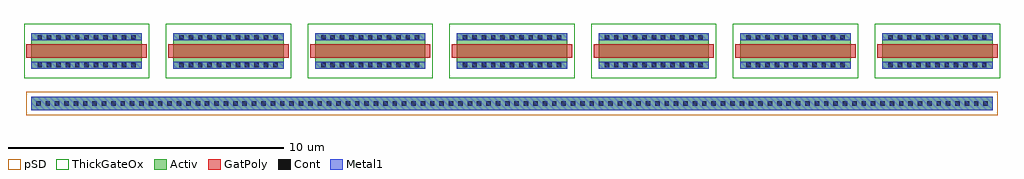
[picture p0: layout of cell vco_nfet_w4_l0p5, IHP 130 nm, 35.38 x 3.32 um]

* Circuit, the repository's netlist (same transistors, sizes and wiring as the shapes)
* extracted by klt extract --deck sg13cmos5l

* cell vco_nfet_w4_l0p5
* pin vsubs
.SUBCKT vco_nfet_w4_l0p5 vsubs
* device instance $1 r0 *1 3.3,3.11 nfet
X$1 \$16 \$2 \$3 vsubs sg13_hv_nmos L=0.5U W=4U AS=1.6P AD=1.6P PS=8.8U PD=8.8U
* device instance $2 r0 *1 9.26,3.11 nfet
X$2 \$17 \$4 \$5 vsubs sg13_hv_nmos L=0.5U W=4U AS=1.6P AD=1.6P PS=8.8U PD=8.8U
* device instance $3 r0 *1 15.22,3.11 nfet
X$3 \$18 \$6 \$7 vsubs sg13_hv_nmos L=0.5U W=4U AS=1.6P AD=1.6P PS=8.8U PD=8.8U
* device instance $4 r0 *1 21.18,3.11 nfet
X$4 \$19 \$8 \$9 vsubs sg13_hv_nmos L=0.5U W=4U AS=1.6P AD=1.6P PS=8.8U PD=8.8U
* device instance $5 r0 *1 27.14,3.11 nfet
X$5 \$20 \$10 \$11 vsubs sg13_hv_nmos L=0.5U W=4U AS=1.6P AD=1.6P PS=8.8U
+ PD=8.8U
* device instance $6 r0 *1 33.1,3.11 nfet
X$6 \$21 \$12 \$13 vsubs sg13_hv_nmos L=0.5U W=4U AS=1.6P AD=1.6P PS=8.8U
+ PD=8.8U
* device instance $7 r0 *1 39.06,3.11 nfet
X$7 \$22 \$14 \$15 vsubs sg13_hv_nmos L=0.5U W=4U AS=1.6P AD=1.6P PS=8.8U
+ PD=8.8U
.ENDS vco_nfet_w4_l0p5

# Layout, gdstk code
import gdstk
lib = gdstk.Library(unit=1e-6, precision=1e-09)
def R(c, l, rs):  # rectangles x0, y0, x1, y1
    for r in rs: c.add(gdstk.rectangle(r[:2], r[2:], *l))
def A(c, l, x, y, w, h, nx, ny, dx, dy):  # array of equal rectangles
    R(c, l, [(x+i*dx, y+j*dy, x+i*dx+w, y+j*dy+h) for i in range(nx) for j in range(ny)])
Activ = (1, 0)
GatPoly = (5, 0)
Cont = (6, 0)
Metal1 = (8, 0)
pSD = (14, 0)
ThickGateOx = (44, 0)

vco_nfet_w4_l0p5 = lib.new_cell('vco_nfet_w4_l0p5')
A(vco_nfet_w4_l0p5, Activ, 0.89, 2.46, 4, 1.3, 7, 1, 5.14, 0)
R(vco_nfet_w4_l0p5, Activ, [(0.89,0.96,35.73,1.46)])
A(vco_nfet_w4_l0p5, GatPoly, 0.71, 2.86, 4.36, 0.5, 7, 1, 5.14, 0)
A(vco_nfet_w4_l0p5, Cont, 1.06, 1.13, 0.16, 0.16, 102, 1, 0.34, 0)
A(vco_nfet_w4_l0p5, Cont, 1.11, 2.53, 0.16, 0.16, 11, 2, 0.34, 1)
A(vco_nfet_w4_l0p5, Cont, 6.25, 2.53, 0.16, 0.16, 11, 2, 0.34, 1)
A(vco_nfet_w4_l0p5, Cont, 11.39, 2.53, 0.16, 0.16, 11, 2, 0.34, 1)
A(vco_nfet_w4_l0p5, Cont, 16.53, 2.53, 0.16, 0.16, 11, 2, 0.34, 1)
A(vco_nfet_w4_l0p5, Cont, 21.67, 2.53, 0.16, 0.16, 11, 2, 0.34, 1)
A(vco_nfet_w4_l0p5, Cont, 26.81, 2.53, 0.16, 0.16, 11, 2, 0.34, 1)
A(vco_nfet_w4_l0p5, Cont, 31.95, 2.53, 0.16, 0.16, 11, 2, 0.34, 1)
A(vco_nfet_w4_l0p5, Metal1, 0.89, 2.46, 4, 0.26, 7, 2, 5.14, 1.04)
R(vco_nfet_w4_l0p5, Metal1, [(0.89,0.96,35.73,1.46)])
R(vco_nfet_w4_l0p5, pSD, [(0.71,0.78,35.91,1.64)])
A(vco_nfet_w4_l0p5, ThickGateOx, 0.62, 2.12, 4.54, 1.98, 7, 1, 5.14, 0)

lib.write_gds('vco_nfet_w4_l0p5.gds')
